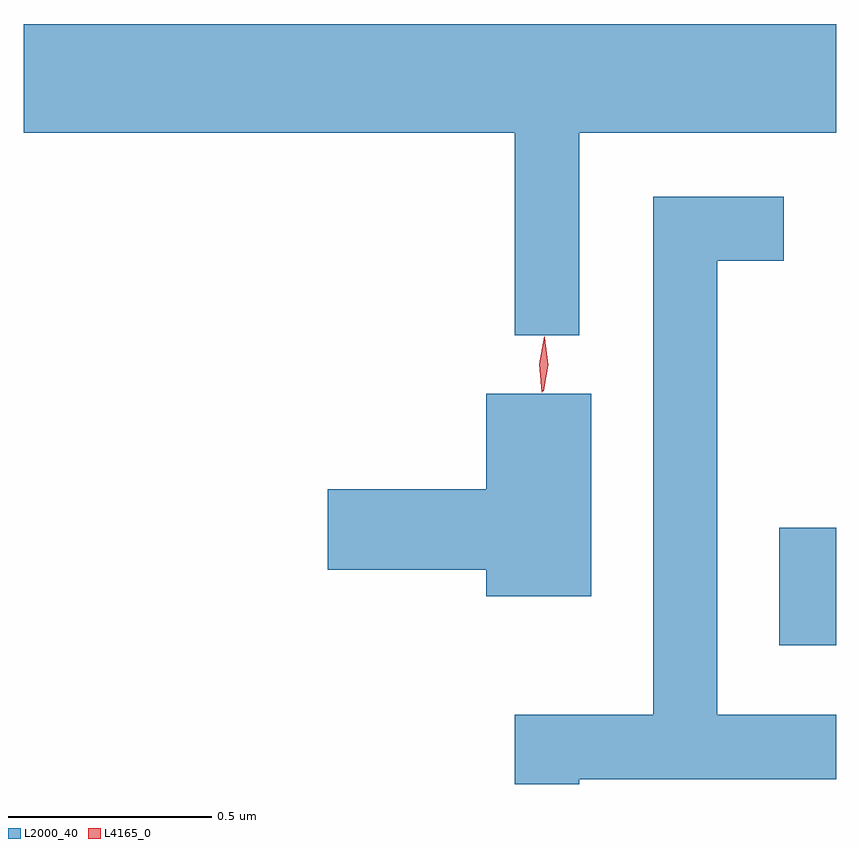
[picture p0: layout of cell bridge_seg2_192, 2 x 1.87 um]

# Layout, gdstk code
import gdstk
lib = gdstk.Library(unit=1e-6, precision=1e-09)
def R(c, l, rs):  # rectangles x0, y0, x1, y1
    for r in rs: c.add(gdstk.rectangle(r[:2], r[2:], *l))
def P(c, l, *ps):  # polygons
    for p in ps: c.add(gdstk.Polygon(p, *l))
L2000_40 = (2000, 40)
L4165_0 = (4165, 0)

bridge_seg2_192 = lib.new_cell('bridge_seg2_192')
R(bridge_seg2_192, L2000_40, [(701.816,980.456,701.957,980.744)])
P(bridge_seg2_192, L2000_40, [(701.324,981.716),(701.957,981.716),(701.957,981.984),(699.957,981.984),(699.957,981.716),(701.166,981.716),(701.166,981.218),(701.324,981.218)],
  [(701.324,980.126),(701.957,980.126),(701.957,980.284),(701.664,980.284),(701.664,981.401),(701.828,981.401),(701.828,981.559),(701.506,981.559),(701.506,980.284),(701.166,980.284),(701.166,980.114),(701.324,980.114)],
  [(701.354,981.074),(701.096,981.074),(701.096,980.839),(700.706,980.839),(700.706,980.641),(701.096,980.641),(701.096,980.576),(701.354,980.576)])
P(bridge_seg2_192, L4165_0, [(701.236,981.08),(701.236,981.081),(701.228,981.146),(701.238,981.211),(701.239,981.212),(701.239,981.211),(701.248,981.146),(701.237,981.081)],
  [(701.232,981.078),(701.232,981.078),(701.226,981.147),(701.238,981.215),(701.239,981.215),(701.239,981.215),(701.245,981.146),(701.233,981.078)])

lib.write_gds('bridge_seg2_192.gds')
